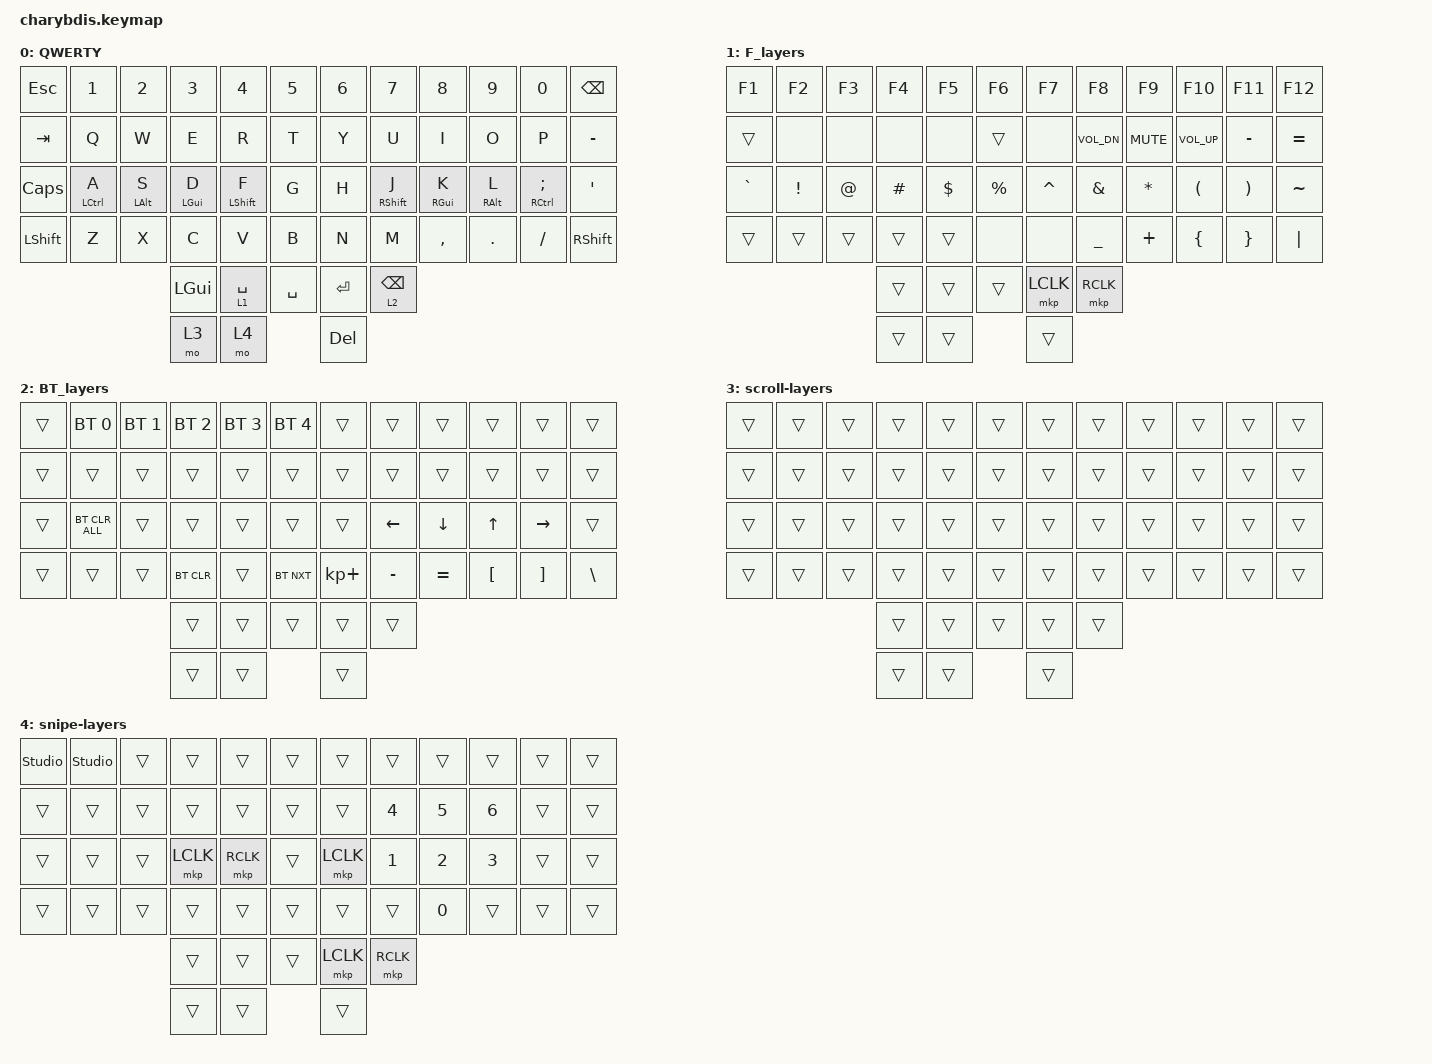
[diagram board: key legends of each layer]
#include <behaviors.dtsi>
#include <dt-bindings/zmk/bt.h>
#include <dt-bindings/zmk/keys.h>
#include <dt-bindings/zmk/pointing.h>
#include <dt-bindings/zmk/rgb.h>

/ {
     combos {
            compatible = "zmk,combos";
            combo_tab {
                timeout-ms = <28>;
                key-positions = <16 17>;
                bindings = <&kp TAB>;
            };
    };
    behaviors {
        gqt: global-quick-tap {
            compatible = "zmk,behavior-hold-tap";
            label = "GLOBAL_QUICK_TAP";
            #binding-cells = <2>;
            quick-tap-ms = <75>;
            flavor = "tap-preferred";
            tapping-term-ms = <230>;
            quick-tap-ms = <60>;
            bindings = <&kp>, <&kp>;
        };
    };

    keymap {
        compatible = "zmk,keymap";

        QWERTY {
            bindings = <
&kp ESC         &kp N1  &kp N2   &kp N3            &kp N4        &kp N5          &kp N6      &kp N7     &kp N8     &kp N9   &kp N0    &kp BACKSPACE
&kp TAB         &kp Q   &kp W    &kp E             &kp R         &kp T           &kp Y       &kp U      &kp I      &kp O    &kp P     &kp MINUS
&kp CAPSLOCK    &gqt LCTRL A   &gqt LALT S  &gqt LGUI D             &gqt LSHIFT F       &kp G           &kp H      &gqt RSHFT J    &gqt RGUI K     &gqt RALT L   &gqt RCTRL SEMI  &kp SQT
&kp LEFT_SHIFT  &kp Z   &kp X    &kp C             &kp V         &kp B         &kp N       &kp M      &kp COMMA  &kp DOT  &kp FSLH  &kp RIGHT_SHIFT
                                 &kp LGUI  &lt 1 SPACE    &kp SPACE           &kp ENTER  &lt 2 BACKSPACE
                                       &mo 3  &mo 4                                 &kp DELETE
            >;
        };

        F_layers {
            bindings = <
&kp F1  &kp F2  &kp F3  &kp F4  &kp F5  &kp F6        &kp F7     &kp F8     &kp F9    &kp F10       &kp F11    &kp F12
&trans  &none   &none   &none   &none   &trans        &none      &kp C_VOL_DN      &kp C_MUTE     &kp C_VOL_UP  &kp MINUS  &kp EQUAL
&kp GRAVE  &kp EXCL         &kp AT            &kp HASH          &kp DOLLAR   &kp PRCNT                    &kp CARET &kp AMPS  &kp STAR &kp LPAR  &kp RPAR  &kp TILDE
&trans  &trans  &trans  &trans  &trans  &none         &none      &kp UNDERSCORE &kp PLUS        &kp LBRC  &kp RBRC  &kp PIPE
                        &trans  &trans  &trans    &mkp LCLK  &mkp RCLK
                                &trans  &trans        &trans
            >;
        };

        BT_layers {
            bindings = <
&trans  &bt BT_SEL 0    &bt BT_SEL 1  &bt BT_SEL 2  &bt BT_SEL 3  &bt BT_SEL 4    &trans      &trans  &trans  &trans  &trans  &trans
&trans  &trans          &trans        &trans        &trans        &trans          &trans      &trans  &trans  &trans  &trans  &trans
&trans  &bt BT_CLR_ALL  &trans        &trans        &trans        &trans          &trans       &kp LEFT  &kp DOWN  &kp UP   &kp RIGHT  &trans
&trans  &trans          &trans        &bt BT_CLR    &trans        &bt BT_NXT      &kp KP_PLUS &kp MINUS &kp EQUAL &kp LBKT &kp RBKT  &kp BSLH
                                      &trans        &trans        &trans          &trans      &trans
                                                    &trans        &trans          &trans
            >;
        };

        scroll-layers {
            bindings = <
&trans  &trans  &trans  &trans  &trans  &trans    &trans  &trans  &trans  &trans  &trans  &trans
&trans  &trans  &trans  &trans  &trans  &trans    &trans  &trans  &trans  &trans  &trans  &trans
&trans  &trans  &trans  &trans  &trans  &trans    &trans  &trans  &trans  &trans  &trans  &trans
&trans  &trans  &trans  &trans  &trans  &trans    &trans  &trans  &trans  &trans  &trans  &trans
                        &trans  &trans  &trans    &trans  &trans
                                &trans  &trans    &trans
            >;
        };

        snipe-layers {
            bindings = <
&studio_unlock  &studio_unlock  &trans  &trans  &trans  &trans    &trans     &trans     &trans  &trans  &trans  &trans
&trans  &trans  &trans  &trans  &trans  &trans    &trans     &kp N4 &kp N5 &kp N6  &trans  &trans
&trans  &trans  &trans  &mkp LCLK  &mkp RCLK  &trans    &mkp LCLK  &kp N1  &kp N2  &kp N3  &trans  &trans
&trans  &trans  &trans  &trans  &trans  &trans    &trans     &trans     &kp N0  &trans  &trans  &trans
                        &trans  &trans  &trans    &mkp LCLK  &mkp RCLK
                                &trans  &trans    &trans
            >;
        };
    };
};
